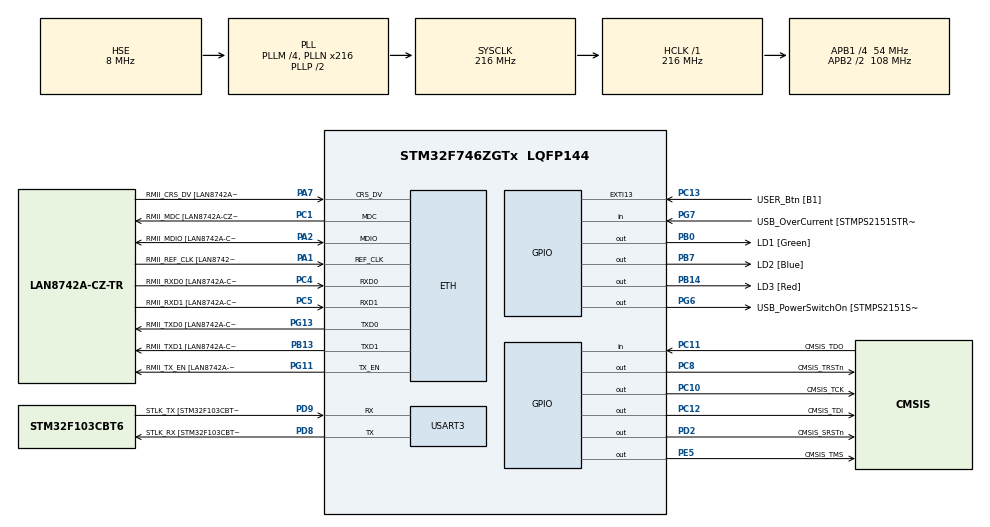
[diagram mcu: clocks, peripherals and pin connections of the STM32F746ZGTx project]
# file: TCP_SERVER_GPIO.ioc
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CORTEX_M7.ART_ACCELERATOR_ENABLE=1
CORTEX_M7.AccessPermission-Cortex_Memory_Protection_Unit_Region0_Settings=MPU_REGION_FULL_ACCESS
CORTEX_M7.AccessPermission-Cortex_Memory_Protection_Unit_Region1_Settings=MPU_REGION_FULL_ACCESS
CORTEX_M7.BaseAddress-Cortex_Memory_Protection_Unit_Region0_Settings=0x2004c000
CORTEX_M7.BaseAddress-Cortex_Memory_Protection_Unit_Region1_Settings=0x20048000
CORTEX_M7.CPU_DCache=Enabled
CORTEX_M7.CPU_ICache=Enabled
CORTEX_M7.DisableExec-Cortex_Memory_Protection_Unit_Region0_Settings=MPU_INSTRUCTION_ACCESS_DISABLE
CORTEX_M7.DisableExec-Cortex_Memory_Protection_Unit_Region1_Settings=MPU_INSTRUCTION_ACCESS_DISABLE
CORTEX_M7.Enable-Cortex_Memory_Protection_Unit_Region0_Settings=MPU_REGION_ENABLE
CORTEX_M7.Enable-Cortex_Memory_Protection_Unit_Region1_Settings=MPU_REGION_ENABLE
CORTEX_M7.IsShareable-Cortex_Memory_Protection_Unit_Region0_Settings=MPU_ACCESS_SHAREABLE
CORTEX_M7.IsShareable-Cortex_Memory_Protection_Unit_Region1_Settings=MPU_ACCESS_SHAREABLE
CORTEX_M7.MPU_Control=MPU_PRIVILEGED_DEFAULT
CORTEX_M7.PREFETCH_ENABLE=1
CORTEX_M7.Size-Cortex_Memory_Protection_Unit_Region0_Settings=MPU_REGION_SIZE_512B
CORTEX_M7.Size-Cortex_Memory_Protection_Unit_Region1_Settings=MPU_REGION_SIZE_32KB
CORTEX_M7.TypeExtField-Cortex_Memory_Protection_Unit_Region1_Settings=MPU_TEX_LEVEL1
ETH.MediaInterface=HAL_ETH_RMII_MODE
ETH.PHY_Name=LAN8742A_PHY_ADDRESS
ETH.PHY_Value=0
ETH.PhyAddress=0
LWIP.BSP.number=1
LWIP.GATEWAY_ADDRESS=192.168.001.001
LWIP.IP_ADDRESS=192.168.001.114
LWIP.LWIP_DHCP=0
LWIP.NETMASK_ADDRESS=255.255.255.000
LWIP.Version=v2.1.2_Cube
LWIP0.BSP.STBoard=false
LWIP0.BSP.api=BSP_COMPONENT_DRIVER
LWIP0.BSP.component=LAN8742
LWIP0.BSP.instance=LAN8742
LWIP0.BSP.name=Driver_PHY
LWIP0.BSP.semaphore=S_LAN8742
LWIP0.BSP.solution=LAN8742
Mcu.Family=STM32F7
Mcu.Name=STM32F746ZGTx
Mcu.Package=LQFP144
NVIC.PriorityGroup=NVIC_PRIORITYGROUP_4
PA1.GPIO_Label=RMII_REF_CLK [LAN8742A-CZ-TR_REFCLK0]
PA1.Mode=RMII
PA1.Signal=ETH_REF_CLK
PA10.GPIO_Label=USB_ID
PA10.Signal=USB_OTG_FS_ID
PA11.GPIO_Label=USB_DM
PA11.Signal=USB_OTG_FS_DM
PA12.GPIO_Label=USB_DP
PA12.Signal=USB_OTG_FS_DP
PA13.GPIO_Label=TMS
PA13.Mode=Serial_Wire
PA13.Signal=SYS_JTMS-SWDIO
PA14.GPIO_Label=TCK
PA14.Mode=Serial_Wire
PA14.Signal=SYS_JTCK-SWCLK
PA2.GPIO_Label=RMII_MDIO [LAN8742A-CZ-TR_MDIO]
PA2.Mode=RMII
PA2.Signal=ETH_MDIO
PA7.GPIO_Label=RMII_CRS_DV [LAN8742A-CZ-TR_CRS_DV]
PA7.Mode=RMII
PA7.Signal=ETH_CRS_DV
PA8.GPIO_Label=USB_SOF [TP1]
PA8.Signal=USB_OTG_FS_SOF
PA9.GPIO_Label=USB_VBUS
PA9.Signal=USB_OTG_FS_VBUS
PB0.GPIO_Label=LD1 [Green]
PB0.Signal=GPIO_Output
PB13.GPIO_Label=RMII_TXD1 [LAN8742A-CZ-TR_TXD1]
PB13.Mode=RMII
PB13.Signal=ETH_TXD1
PB14.GPIO_Label=LD3 [Red]
PB14.Signal=GPIO_Output
PB3.GPIO_Label=SW0
PB3.Signal=SYS_JTDO-SWO
PB7.GPIO_Label=LD2 [Blue]
PB7.Signal=GPIO_Output
PB8.Signal=I2C1_SCL
PB9.Signal=I2C1_SDA
PC1.GPIO_Label=RMII_MDC [LAN8742A-CZ-TR_MDC]
PC1.Mode=RMII
PC1.Signal=ETH_MDC
PC10.GPIO_Label=CMSIS_TCK
PC10.Signal=GPIO_Output
PC11.GPIO_Label=CMSIS_TDO
PC11.Signal=GPIO_Input
PC12.GPIO_Label=CMSIS_TDI
PC12.Signal=GPIO_Output
PC13.GPIO_Label=USER_Btn [B1]
PC13.Signal=GPXTI13
PC14/OSC32_IN.Mode=LSE-External-Oscillator
PC14/OSC32_IN.Signal=RCC_OSC32_IN
PC15/OSC32_OUT.Mode=LSE-External-Oscillator
PC15/OSC32_OUT.Signal=RCC_OSC32_OUT
PC4.GPIO_Label=RMII_RXD0 [LAN8742A-CZ-TR_RXD0]
PC4.Mode=RMII
PC4.Signal=ETH_RXD0
PC5.GPIO_Label=RMII_RXD1 [LAN8742A-CZ-TR_RXD1]
PC5.Mode=RMII
PC5.Signal=ETH_RXD1
PC8.GPIO_Label=CMSIS_TRSTn
PC8.Signal=GPIO_Output
PD2.GPIO_Label=CMSIS_SRSTn
PD2.Signal=GPIO_Output
PD8.GPIO_Label=STLK_RX [STM32F103CBT6_PA3]
PD8.GPIO_PuPd=GPIO_PULLUP
PD8.Mode=Asynchronous
PD8.Signal=USART3_TX
PD9.GPIO_Label=STLK_TX [STM32F103CBT6_PA2]
PD9.GPIO_PuPd=GPIO_PULLUP
PD9.Mode=Asynchronous
PD9.Signal=USART3_RX
PE5.GPIO_Label=CMSIS_TMS
PE5.Signal=GPIO_Output
PG11.GPIO_Label=RMII_TX_EN [LAN8742A-CZ-TR_TXEN]
PG11.Mode=RMII
PG11.Signal=ETH_TX_EN
PG13.GPIO_Label=RMII_TXD0 [LAN8742A-CZ-TR_TXD0]
PG13.Mode=RMII
PG13.Signal=ETH_TXD0
PG6.GPIO_Label=USB_PowerSwitchOn [STMPS2151STR_EN]
PG6.Signal=GPIO_Output
PG7.GPIO_Label=USB_OverCurrent [STMPS2151STR_FAULT]
PG7.Signal=GPIO_Input
PH0/OSC_IN.GPIO_Label=MCO [STM32F103CBT6_PA8]
PH0/OSC_IN.Mode=HSE-External-Clock-Source
PH0/OSC_IN.Signal=RCC_OSC_IN
PH1/OSC_OUT.Mode=HSE-External-Clock-Source
PH1/OSC_OUT.Signal=RCC_OSC_OUT
ProjectManager.HeapSize=0x200
ProjectManager.StackSize=0x400
ProjectManager.TargetToolchain=STM32CubeIDE
RCC.48MHZClocksFreq_Value=24000000
RCC.AHBFreq_Value=216000000
RCC.APB1CLKDivider=RCC_HCLK_DIV4
RCC.APB1Freq_Value=54000000
RCC.APB1TimFreq_Value=108000000
RCC.APB2CLKDivider=RCC_HCLK_DIV2
RCC.APB2Freq_Value=108000000
RCC.APB2TimFreq_Value=216000000
RCC.CortexFreq_Value=216000000
RCC.HCLKFreq_Value=216000000
RCC.HSE_VALUE=8000000
RCC.HSI_VALUE=16000000
RCC.PLLM=4
RCC.PLLMUL=RCC_PLL_MUL9
RCC.PLLN=216
RCC.PLLQ=9
RCC.PLLSourceVirtual=RCC_PLLSOURCE_HSE
RCC.PRESCALERUSB=RCC_USBCLKSOURCE_PLL_DIV1_5
RCC.SYSCLKFreq_VALUE=216000000
RCC.SYSCLKSource=RCC_SYSCLKSOURCE_PLLCLK
RCC.SYSCLKSourceVirtual=RCC_SYSCLKSOURCE_PLLCLK
RCC.USBFreq_Value=48000000
RCC.VCOOutputFreq_Value=432000000
USART3.VirtualMode-Asynchronous=VM_ASYNC
VP_LWIP_VS_Enabled.Mode=Enabled
board=NUCLEO-F746ZG

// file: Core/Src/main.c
/* USER CODE BEGIN Header */
/**
  ******************************************************************************
  * @file           : main.c
  * @brief          : Main program body
  ******************************************************************************
  * @attention
  *
  * Copyright (c) 2025 STMicroelectronics.
  * All rights reserved.
  *
  * This software is licensed under terms that can be found in the LICENSE file
  * in the root directory of this software component.
  * If no LICENSE file comes with this software, it is provided AS-IS.
  *
  ******************************************************************************
  */
/* USER CODE END Header */
#include "main.h"
#include "lwip.h"

/* USER CODE BEGIN Includes */
#include "DAP.h"
#include "helper.h"
#include "port.h"
#include "jtag.h"
/* USER CODE END Includes */

UART_HandleTypeDef huart3;

/* USER CODE BEGIN PV */
extern struct netif gnetif;
uint8_t wrBuff[128] = {0};
uint8_t rdBuff[128] = {0};
uint8_t wrIdx = 0;
uint8_t rdIdx = 0;
volatile uint32_t msgAvailable;
/* USER CODE END PV */

void SystemClock_Config(void);
static void MPU_Config(void);
static void MX_GPIO_Init(void);
static void MX_USART3_UART_Init(void);

/* USER CODE BEGIN 0 */

void DWT_Init(void) {
    // Enable DWT_CYCCNT
    CoreDebug->DEMCR |= CoreDebug_DEMCR_TRCENA_Msk;
    DWT->CYCCNT = 0; // Reset counter
    DWT->CTRL |= DWT_CTRL_CYCCNTENA_Msk; // Enable counter
}

/* USER CODE END 0 */

int main(void)
{

  /* MPU Configuration--------------------------------------------------------*/
  MPU_Config();

  /* Enable the CPU Cache */

  /* Enable I-Cache---------------------------------------------------------*/
  SCB_EnableICache();

  /* Enable D-Cache---------------------------------------------------------*/
  SCB_EnableDCache();

  /* MCU Configuration--------------------------------------------------------*/

  /* Reset of all peripherals, Initializes the Flash interface and the Systick. */
  HAL_Init();

  /* Configure the system clock */
  SystemClock_Config();

  /* Initialize all configured peripherals */
  MX_GPIO_Init();
  MX_USART3_UART_Init();
  MX_LWIP_Init();
  /* USER CODE BEGIN 2 */
  DWT_Init();
  tcp_server_init();

  /* USER CODE END 2 */

  /* Infinite loop */
  while (1)
  {

    /* USER CODE BEGIN 3 */
    MX_LWIP_Process();
  }
  /* USER CODE END 3 */
}

void SystemClock_Config(void)
{
  RCC_OscInitTypeDef RCC_OscInitStruct = {0};
  RCC_ClkInitTypeDef RCC_ClkInitStruct = {0};

  /** Configure LSE Drive Capability
  */
  HAL_PWR_EnableBkUpAccess();

  /** Configure the main internal regulator output voltage
  */
  __HAL_RCC_PWR_CLK_ENABLE();
  __HAL_PWR_VOLTAGESCALING_CONFIG(PWR_REGULATOR_VOLTAGE_SCALE1);

  /** Initializes the RCC Oscillators according to the specified parameters
  * in the RCC_OscInitTypeDef structure.
  */
  RCC_OscInitStruct.OscillatorType = RCC_OSCILLATORTYPE_HSE;
  RCC_OscInitStruct.HSEState = RCC_HSE_BYPASS;
  RCC_OscInitStruct.PLL.PLLState = RCC_PLL_ON;
  RCC_OscInitStruct.PLL.PLLSource = RCC_PLLSOURCE_HSE;
  RCC_OscInitStruct.PLL.PLLM = 4;
  RCC_OscInitStruct.PLL.PLLN = 216;
  RCC_OscInitStruct.PLL.PLLP = RCC_PLLP_DIV2;
  RCC_OscInitStruct.PLL.PLLQ = 9;
  if (HAL_RCC_OscConfig(&RCC_OscInitStruct) != HAL_OK)
  {
    Error_Handler();
  }

  /** Activate the Over-Drive mode
  */
  if (HAL_PWREx_EnableOverDrive() != HAL_OK)
  {
    Error_Handler();
  }

  /** Initializes the CPU, AHB and APB buses clocks
  */
  RCC_ClkInitStruct.ClockType = RCC_CLOCKTYPE_HCLK|RCC_CLOCKTYPE_SYSCLK
                              |RCC_CLOCKTYPE_PCLK1|RCC_CLOCKTYPE_PCLK2;
  RCC_ClkInitStruct.SYSCLKSource = RCC_SYSCLKSOURCE_PLLCLK;
  RCC_ClkInitStruct.AHBCLKDivider = RCC_SYSCLK_DIV1;
  RCC_ClkInitStruct.APB1CLKDivider = RCC_HCLK_DIV4;
  RCC_ClkInitStruct.APB2CLKDivider = RCC_HCLK_DIV2;

  if (HAL_RCC_ClockConfig(&RCC_ClkInitStruct, FLASH_LATENCY_7) != HAL_OK)
  {
    Error_Handler();
  }
}

static void MX_USART3_UART_Init(void)
{

  huart3.Instance = USART3;
  huart3.Init.BaudRate = 115200;
  huart3.Init.WordLength = UART_WORDLENGTH_8B;
  huart3.Init.StopBits = UART_STOPBITS_1;
  huart3.Init.Parity = UART_PARITY_NONE;
  huart3.Init.Mode = UART_MODE_TX_RX;
  huart3.Init.HwFlowCtl = UART_HWCONTROL_NONE;
  huart3.Init.OverSampling = UART_OVERSAMPLING_16;
  huart3.Init.OneBitSampling = UART_ONE_BIT_SAMPLE_DISABLE;
  huart3.AdvancedInit.AdvFeatureInit = UART_ADVFEATURE_NO_INIT;
  if (HAL_UART_Init(&huart3) != HAL_OK)
  {
    Error_Handler();
  }

}

static void MX_GPIO_Init(void)
{
  GPIO_InitTypeDef GPIO_InitStruct = {0};

  /* GPIO Ports Clock Enable */
  __HAL_RCC_GPIOE_CLK_ENABLE();
  __HAL_RCC_GPIOC_CLK_ENABLE();
  __HAL_RCC_GPIOH_CLK_ENABLE();
  __HAL_RCC_GPIOA_CLK_ENABLE();
  __HAL_RCC_GPIOB_CLK_ENABLE();
  __HAL_RCC_GPIOD_CLK_ENABLE();
  __HAL_RCC_GPIOG_CLK_ENABLE();

  /*Configure GPIO pin Output Level */
  HAL_GPIO_WritePin(CMSIS_TMS_GPIO_Port, CMSIS_TMS_Pin, GPIO_PIN_RESET);

  /*Configure GPIO pin Output Level */
  HAL_GPIO_WritePin(GPIOB, LD1_Pin|LD3_Pin|LD2_Pin, GPIO_PIN_RESET);

  /*Configure GPIO pin Output Level */
  HAL_GPIO_WritePin(USB_PowerSwitchOn_GPIO_Port, USB_PowerSwitchOn_Pin, GPIO_PIN_RESET);

  /*Configure GPIO pin Output Level */
  HAL_GPIO_WritePin(GPIOC, CMSIS_TRSTn_Pin|CMSIS_TCK_Pin|CMSIS_TDI_Pin, GPIO_PIN_RESET);

  /*Configure GPIO pin Output Level */
  HAL_GPIO_WritePin(CMSIS_SRSTn_GPIO_Port, CMSIS_SRSTn_Pin, GPIO_PIN_RESET);

  /*Configure GPIO pin : CMSIS_TMS_Pin */
  GPIO_InitStruct.Pin = CMSIS_TMS_Pin;
  GPIO_InitStruct.Mode = GPIO_MODE_OUTPUT_PP;
  GPIO_InitStruct.Pull = GPIO_NOPULL;
  GPIO_InitStruct.Speed = GPIO_SPEED_FREQ_LOW;
  HAL_GPIO_Init(CMSIS_TMS_GPIO_Port, &GPIO_InitStruct);

  /*Configure GPIO pin : USER_Btn_Pin */
  GPIO_InitStruct.Pin = USER_Btn_Pin;
  GPIO_InitStruct.Mode = GPIO_MODE_IT_RISING;
  GPIO_InitStruct.Pull = GPIO_NOPULL;
  HAL_GPIO_Init(USER_Btn_GPIO_Port, &GPIO_InitStruct);

  /*Configure GPIO pins : LD1_Pin LD3_Pin LD2_Pin */
  GPIO_InitStruct.Pin = LD1_Pin|LD3_Pin|LD2_Pin;
  GPIO_InitStruct.Mode = GPIO_MODE_OUTPUT_PP;
  GPIO_InitStruct.Pull = GPIO_NOPULL;
  GPIO_InitStruct.Speed = GPIO_SPEED_FREQ_LOW;
  HAL_GPIO_Init(GPIOB, &GPIO_InitStruct);

  /*Configure GPIO pin : USB_PowerSwitchOn_Pin */
  GPIO_InitStruct.Pin = USB_PowerSwitchOn_Pin;
  GPIO_InitStruct.Mode = GPIO_MODE_OUTPUT_PP;
  GPIO_InitStruct.Pull = GPIO_NOPULL;
  GPIO_InitStruct.Speed = GPIO_SPEED_FREQ_LOW;
  HAL_GPIO_Init(USB_PowerSwitchOn_GPIO_Port, &GPIO_InitStruct);

  /*Configure GPIO pin : USB_OverCurrent_Pin */
  GPIO_InitStruct.Pin = USB_OverCurrent_Pin;
  GPIO_InitStruct.Mode = GPIO_MODE_INPUT;
  GPIO_InitStruct.Pull = GPIO_NOPULL;
  HAL_GPIO_Init(USB_OverCurrent_GPIO_Port, &GPIO_InitStruct);

  /*Configure GPIO pins : CMSIS_TRSTn_Pin CMSIS_TCK_Pin CMSIS_TDI_Pin */
  GPIO_InitStruct.Pin = CMSIS_TRSTn_Pin|CMSIS_TCK_Pin|CMSIS_TDI_Pin;
  GPIO_InitStruct.Mode = GPIO_MODE_OUTPUT_PP;
  GPIO_InitStruct.Pull = GPIO_NOPULL;
  GPIO_InitStruct.Speed = GPIO_SPEED_FREQ_LOW;
  HAL_GPIO_Init(GPIOC, &GPIO_InitStruct);

  /*Configure GPIO pins : USB_SOF_Pin USB_ID_Pin USB_DM_Pin USB_DP_Pin */
  GPIO_InitStruct.Pin = USB_SOF_Pin|USB_ID_Pin|USB_DM_Pin|USB_DP_Pin;
  GPIO_InitStruct.Mode = GPIO_MODE_AF_PP;
  GPIO_InitStruct.Pull = GPIO_NOPULL;
  GPIO_InitStruct.Speed = GPIO_SPEED_FREQ_VERY_HIGH;
  GPIO_InitStruct.Alternate = GPIO_AF10_OTG_FS;
  HAL_GPIO_Init(GPIOA, &GPIO_InitStruct);

  /*Configure GPIO pin : USB_VBUS_Pin */
  GPIO_InitStruct.Pin = USB_VBUS_Pin;
  GPIO_InitStruct.Mode = GPIO_MODE_INPUT;
  GPIO_InitStruct.Pull = GPIO_NOPULL;
  HAL_GPIO_Init(USB_VBUS_GPIO_Port, &GPIO_InitStruct);

  /*Configure GPIO pin : CMSIS_TDO_Pin */
  GPIO_InitStruct.Pin = CMSIS_TDO_Pin;
  GPIO_InitStruct.Mode = GPIO_MODE_INPUT;
  GPIO_InitStruct.Pull = GPIO_NOPULL;
  HAL_GPIO_Init(CMSIS_TDO_GPIO_Port, &GPIO_InitStruct);

  /*Configure GPIO pin : CMSIS_SRSTn_Pin */
  GPIO_InitStruct.Pin = CMSIS_SRSTn_Pin;
  GPIO_InitStruct.Mode = GPIO_MODE_OUTPUT_PP;
  GPIO_InitStruct.Pull = GPIO_NOPULL;
  GPIO_InitStruct.Speed = GPIO_SPEED_FREQ_LOW;
  HAL_GPIO_Init(CMSIS_SRSTn_GPIO_Port, &GPIO_InitStruct);

  /*Configure GPIO pins : PB8 PB9 */
  GPIO_InitStruct.Pin = GPIO_PIN_8|GPIO_PIN_9;
  GPIO_InitStruct.Mode = GPIO_MODE_AF_OD;
  GPIO_InitStruct.Pull = GPIO_NOPULL;
  GPIO_InitStruct.Speed = GPIO_SPEED_FREQ_VERY_HIGH;
  GPIO_InitStruct.Alternate = GPIO_AF4_I2C1;
  HAL_GPIO_Init(GPIOB, &GPIO_InitStruct);

}

 /* MPU Configuration */

void MPU_Config(void)
{
  MPU_Region_InitTypeDef MPU_InitStruct = {0};

  /* Disables the MPU */
  HAL_MPU_Disable();

  /** Initializes and configures the Region and the memory to be protected
  */
  MPU_InitStruct.Enable = MPU_REGION_ENABLE;
  MPU_InitStruct.Number = MPU_REGION_NUMBER0;
  MPU_InitStruct.BaseAddress = 0x2004c000;
  MPU_InitStruct.Size = MPU_REGION_SIZE_512B;
  MPU_InitStruct.SubRegionDisable = 0x0;
  MPU_InitStruct.TypeExtField = MPU_TEX_LEVEL0;
  MPU_InitStruct.AccessPermission = MPU_REGION_FULL_ACCESS;
  MPU_InitStruct.DisableExec = MPU_INSTRUCTION_ACCESS_DISABLE;
  MPU_InitStruct.IsShareable = MPU_ACCESS_SHAREABLE;
  MPU_InitStruct.IsCacheable = MPU_ACCESS_NOT_CACHEABLE;
  MPU_InitStruct.IsBufferable = MPU_ACCESS_NOT_BUFFERABLE;

  HAL_MPU_ConfigRegion(&MPU_InitStruct);

  /** Initializes and configures the Region and the memory to be protected
  */
  MPU_InitStruct.Number = MPU_REGION_NUMBER1;
  MPU_InitStruct.BaseAddress = 0x20048000;
  MPU_InitStruct.Size = MPU_REGION_SIZE_32KB;
  MPU_InitStruct.TypeExtField = MPU_TEX_LEVEL1;

  HAL_MPU_ConfigRegion(&MPU_InitStruct);
  /* Enables the MPU */
  HAL_MPU_Enable(MPU_PRIVILEGED_DEFAULT);

}

void Error_Handler(void)
{
  __disable_irq();
  while (1)
  {
  }
}
